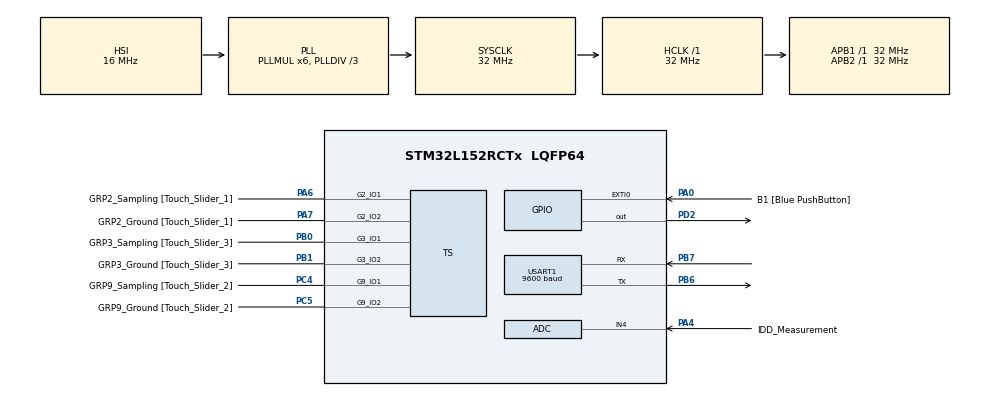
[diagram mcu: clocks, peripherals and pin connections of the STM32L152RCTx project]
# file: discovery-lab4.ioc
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ADC.Channel=ADC_CHANNEL_4
ADC.Channel-0\#ChannelRegularConversion=ADC_CHANNEL_4
ADC.Channel-IN4=ADC_CHANNEL_4
ADC.ExternalTrigConv=ADC_EXTERNALTRIGCONV_T2_CC3
ADC.ExternalTrigConv-0\#ChannelRegularConversion=ADC_SOFTWARE_START
ADC.ExternalTrigConvEdge=ADC_EXTERNALTRIGCONVEDGE_RISING
ADC.Rank-0\#ChannelRegularConversion=1
ADC.SamplingTime-0\#ChannelRegularConversion=ADC_SAMPLETIME_4CYCLES
Mcu.Family=STM32L1
Mcu.Name=STM32L152RCTx
Mcu.Package=LQFP64
NVIC.PriorityGroup=NVIC_PRIORITYGROUP_0
NVIC.USART1_IRQn=true\:0\:0\:false\:false\:true\:true\:true\:true
PA0-WKUP1.GPIO_Label=B1 [Blue PushButton]
PA0-WKUP1.GPIO_ModeDefaultEXTI=GPIO_MODE_EVT_RISING
PA0-WKUP1.GPIO_PuPd=GPIO_NOPULL
PA0-WKUP1.Signal=GPXTI0
PA1.GPIO_Label=SEG0 [GH08172T_SEG0]
PA1.GPIO_Mode=GPIO_MODE_AF_PP
PA1.GPIO_PuPd=GPIO_NOPULL
PA1.GPIO_Speed=GPIO_SPEED_FREQ_LOW
PA1.Signal=LCD_SEG0
PA10.GPIO_Label=COM2 [GH08172T_COM2]
PA10.GPIO_Mode=GPIO_MODE_AF_PP
PA10.GPIO_PuPd=GPIO_NOPULL
PA10.GPIO_Speed=GPIO_SPEED_FREQ_LOW
PA10.Signal=LCD_COM2
PA13.GPIO_Label=SWDIO
PA13.Mode=Serial_Wire
PA13.Signal=SYS_JTMS-SWDIO
PA14.GPIO_Label=SWCLK
PA14.Mode=Serial_Wire
PA14.Signal=SYS_JTCK-SWCLK
PA15.GPIO_Label=SEG12 [GH08172T_SEG12]
PA15.GPIO_Mode=GPIO_MODE_AF_PP
PA15.GPIO_PuPd=GPIO_NOPULL
PA15.GPIO_Speed=GPIO_SPEED_FREQ_LOW
PA15.Signal=LCD_SEG17
PA2.GPIO_Label=SEG1 [GH08172T_SEG1]
PA2.GPIO_Mode=GPIO_MODE_AF_PP
PA2.GPIO_PuPd=GPIO_NOPULL
PA2.GPIO_Speed=GPIO_SPEED_FREQ_LOW
PA2.Signal=LCD_SEG1
PA3.GPIO_Label=SEG2 [GH08172T_SEG2]
PA3.GPIO_Mode=GPIO_MODE_AF_PP
PA3.GPIO_PuPd=GPIO_NOPULL
PA3.GPIO_Speed=GPIO_SPEED_FREQ_LOW
PA3.Signal=LCD_SEG2
PA4.GPIO_Label=IDD_Measurement
PA4.GPIO_Mode=GPIO_MODE_ANALOG
PA4.GPIO_PuPd=GPIO_NOPULL
PA4.Mode=IN4
PA4.Signal=ADC_IN4
PA6.GPIO_Label=GRP2_Sampling [Touch_Slider_1]
PA6.Mode=G2_IO1-Sampling
PA6.Signal=TS_G2_IO1
PA7.GPIO_Label=GRP2_Ground [Touch_Slider_1]
PA7.Mode=G2_IO2-Channel
PA7.Signal=TS_G2_IO2
PA8.GPIO_Label=COM0 [GH08172T_COM0]
PA8.GPIO_Mode=GPIO_MODE_AF_PP
PA8.GPIO_PuPd=GPIO_NOPULL
PA8.GPIO_Speed=GPIO_SPEED_FREQ_LOW
PA8.Signal=LCD_COM0
PA9.GPIO_Label=COM1 [GH08172T_COM1]
PA9.GPIO_Mode=GPIO_MODE_AF_PP
PA9.GPIO_PuPd=GPIO_NOPULL
PA9.GPIO_Speed=GPIO_SPEED_FREQ_LOW
PA9.Signal=LCD_COM1
PB0.GPIO_Label=GRP3_Sampling [Touch_Slider_3]
PB0.Mode=G3_IO1-Sampling
PB0.Signal=TS_G3_IO1
PB1.GPIO_Label=GRP3_Ground [Touch_Slider_3]
PB1.Mode=G3_IO2-Channel
PB1.Signal=TS_G3_IO2
PB10.GPIO_Label=SEG6 [GH08172T_SEG6]
PB10.GPIO_Mode=GPIO_MODE_AF_PP
PB10.GPIO_PuPd=GPIO_NOPULL
PB10.GPIO_Speed=GPIO_SPEED_FREQ_LOW
PB10.Signal=LCD_SEG10
PB11.GPIO_Label=SEG7 [GH08172T_SEG7]
PB11.GPIO_Mode=GPIO_MODE_AF_PP
PB11.GPIO_PuPd=GPIO_NOPULL
PB11.GPIO_Speed=GPIO_SPEED_FREQ_LOW
PB11.Signal=LCD_SEG11
PB12.GPIO_Label=SEG8 [GH08172T_SEG8]
PB12.GPIO_Mode=GPIO_MODE_AF_PP
PB12.GPIO_PuPd=GPIO_NOPULL
PB12.GPIO_Speed=GPIO_SPEED_FREQ_LOW
PB12.Signal=LCD_SEG12
PB13.GPIO_Label=SEG9 [GH08172T_SEG9]
PB13.GPIO_Mode=GPIO_MODE_AF_PP
PB13.GPIO_PuPd=GPIO_NOPULL
PB13.GPIO_Speed=GPIO_SPEED_FREQ_LOW
PB13.Signal=LCD_SEG13
PB14.GPIO_Label=SEG10 [GH08172T_SEG10]
PB14.GPIO_Mode=GPIO_MODE_AF_PP
PB14.GPIO_PuPd=GPIO_NOPULL
PB14.GPIO_Speed=GPIO_SPEED_FREQ_LOW
PB14.Signal=LCD_SEG14
PB15.GPIO_Label=SEG11 [GH08172T_SEG11]
PB15.GPIO_Mode=GPIO_MODE_AF_PP
PB15.GPIO_PuPd=GPIO_NOPULL
PB15.GPIO_Speed=GPIO_SPEED_FREQ_LOW
PB15.Signal=LCD_SEG15
PB3.GPIO_Label=SEG3 [GH08172T_SEG3]
PB3.GPIO_Mode=GPIO_MODE_AF_PP
PB3.GPIO_PuPd=GPIO_NOPULL
PB3.GPIO_Speed=GPIO_SPEED_FREQ_LOW
PB3.Signal=LCD_SEG7
PB4.GPIO_Label=SEG4 [GH08172T_SEG4]
PB4.GPIO_Mode=GPIO_MODE_AF_PP
PB4.GPIO_PuPd=GPIO_NOPULL
PB4.GPIO_Speed=GPIO_SPEED_FREQ_LOW
PB4.Signal=LCD_SEG8
PB5.GPIO_Label=SEG5 [GH08172T_SEG5]
PB5.GPIO_Mode=GPIO_MODE_AF_PP
PB5.GPIO_PuPd=GPIO_NOPULL
PB5.GPIO_Speed=GPIO_SPEED_FREQ_LOW
PB5.Signal=LCD_SEG9
PB6.Mode=Asynchronous
PB6.Signal=USART1_TX
PB7.Mode=Asynchronous
PB7.Signal=USART1_RX
PB8.GPIO_Label=SEG13 [GH08172T_SEG13]
PB8.GPIO_Mode=GPIO_MODE_AF_PP
PB8.GPIO_PuPd=GPIO_NOPULL
PB8.GPIO_Speed=GPIO_SPEED_FREQ_LOW
PB8.Signal=LCD_SEG16
PB9.GPIO_Label=COM3 [GH08172T_COM3]
PB9.GPIO_Mode=GPIO_MODE_AF_PP
PB9.GPIO_PuPd=GPIO_NOPULL
PB9.GPIO_Speed=GPIO_SPEED_FREQ_LOW
PB9.Signal=LCD_COM3
PC0.GPIO_Label=SEG14 [GH08172T_SEG14]
PC0.GPIO_Mode=GPIO_MODE_AF_PP
PC0.GPIO_PuPd=GPIO_NOPULL
PC0.GPIO_Speed=GPIO_SPEED_FREQ_LOW
PC0.Signal=LCD_SEG18
PC1.GPIO_Label=SEG15 [GH08172T_SEG15]
PC1.GPIO_Mode=GPIO_MODE_AF_PP
PC1.GPIO_PuPd=GPIO_NOPULL
PC1.GPIO_Speed=GPIO_SPEED_FREQ_LOW
PC1.Signal=LCD_SEG19
PC10.GPIO_Label=SEG22 [GH08172T_SEG22]
PC10.GPIO_Mode=GPIO_MODE_AF_PP
PC10.GPIO_PuPd=GPIO_NOPULL
PC10.GPIO_Speed=GPIO_SPEED_FREQ_LOW
PC10.Signal=LCD_SEG28
PC11.GPIO_Label=SEG23 [GH08172T_SEG23]
PC11.GPIO_Mode=GPIO_MODE_AF_PP
PC11.GPIO_PuPd=GPIO_NOPULL
PC11.GPIO_Speed=GPIO_SPEED_FREQ_LOW
PC11.Signal=LCD_SEG29
PC14-OSC32_IN.GPIO_Label=PC14-OSC32_IN
PC14-OSC32_IN.Mode=LSE-External-Oscillator
PC14-OSC32_IN.Signal=RCC_OSC32_IN
PC15-OSC32_OUT.GPIO_Label=PC15-OSC32_OUT
PC15-OSC32_OUT.Mode=LSE-External-Oscillator
PC15-OSC32_OUT.Signal=RCC_OSC32_OUT
PC2.GPIO_Label=SEG16 [GH08172T_SEG16]
PC2.GPIO_Mode=GPIO_MODE_AF_PP
PC2.GPIO_PuPd=GPIO_NOPULL
PC2.GPIO_Speed=GPIO_SPEED_FREQ_LOW
PC2.Signal=LCD_SEG20
PC3.GPIO_Label=SEG17 [GH08172T_SEG17]
PC3.GPIO_Mode=GPIO_MODE_AF_PP
PC3.GPIO_PuPd=GPIO_NOPULL
PC3.GPIO_Speed=GPIO_SPEED_FREQ_LOW
PC3.Signal=LCD_SEG21
PC4.GPIO_Label=GRP9_Sampling [Touch_Slider_2]
PC4.Mode=G9_IO1-Sampling
PC4.Signal=TS_G9_IO1
PC5.GPIO_Label=GRP9_Ground [Touch_Slider_2]
PC5.Mode=G9_IO2-Channel
PC5.Signal=TS_G9_IO2
PC6.GPIO_Label=SEG18 [GH08172T_SEG18]
PC6.GPIO_Mode=GPIO_MODE_AF_PP
PC6.GPIO_PuPd=GPIO_NOPULL
PC6.GPIO_Speed=GPIO_SPEED_FREQ_LOW
PC6.Signal=LCD_SEG24
PC7.GPIO_Label=SEG19 [GH08172T_SEG19]
PC7.GPIO_Mode=GPIO_MODE_AF_PP
PC7.GPIO_PuPd=GPIO_NOPULL
PC7.GPIO_Speed=GPIO_SPEED_FREQ_LOW
PC7.Signal=LCD_SEG25
PC8.GPIO_Label=SEG20 [GH08172T_SEG20]
PC8.GPIO_Mode=GPIO_MODE_AF_PP
PC8.GPIO_PuPd=GPIO_NOPULL
PC8.GPIO_Speed=GPIO_SPEED_FREQ_LOW
PC8.Signal=LCD_SEG26
PC9.GPIO_Label=SEG21 [GH08172T_SEG21]
PC9.GPIO_Mode=GPIO_MODE_AF_PP
PC9.GPIO_PuPd=GPIO_NOPULL
PC9.GPIO_Speed=GPIO_SPEED_FREQ_LOW
PC9.Signal=LCD_SEG27
PD2.Signal=GPIO_Output
ProjectManager.HeapSize=0x200
ProjectManager.StackSize=0x400
ProjectManager.TargetToolchain=STM32CubeIDE
RCC.48MHZClocksFreq_Value=48000000
RCC.AHBFreq_Value=32000000
RCC.APB1Freq_Value=32000000
RCC.APB1TimFreq_Value=32000000
RCC.APB2Freq_Value=32000000
RCC.APB2TimFreq_Value=32000000
RCC.HCLKFreq_Value=32000000
RCC.HSE_VALUE=8000000
RCC.HSI_VALUE=16000000
RCC.MSI_VALUE=2097000
RCC.PLLDIV=RCC_PLL_DIV3
RCC.PLLMUL=RCC_PLL_MUL6
RCC.RTCClockSelectionVirtual=RCC_RTCCLKSOURCE_LSE
RCC.SYSCLKFreq_VALUE=32000000
RCC.SYSCLKSource=RCC_SYSCLKSOURCE_PLLCLK
RCC.USBOutput=48000000
RCC.VCOOutputFreq_Value=96000000
TS.SamplingIOs-G2_IO1=TSC_GROUP2_IO1
TS.SamplingIOs-G3_IO1=TSC_GROUP3_IO1
TS.SamplingIOs-G9_IO1=TSC_GROUP9_IO1
USART1.BaudRate=9600
USART1.VirtualMode=VM_ASYNC
VP_TIM2_VS_ClockSourceINT.Mode=Internal
VP_TIM3_VS_ClockSourceINT.Mode=Internal
VP_TIM4_VS_ClockSourceINT.Mode=Internal
board=STM32L152C-DISCO

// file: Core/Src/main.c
/* USER CODE BEGIN Header */
/**
 ******************************************************************************
 * @file           : main.c
 * @brief          : Main program body
 ******************************************************************************
 * @attention
 *
 * Copyright (c) 2023 STMicroelectronics.
 * All rights reserved.
 *
 * This software is licensed under terms that can be found in the LICENSE file
 * in the root directory of this software component.
 * If no LICENSE file comes with this software, it is provided AS-IS.
 *
 ******************************************************************************
 */
/* USER CODE END Header */
#include "main.h"

/* USER CODE BEGIN Includes */
#include <stdio.h>

/* USER CODE END Includes */

ADC_HandleTypeDef hadc;

TIM_HandleTypeDef htim2;
TIM_HandleTypeDef htim3;
TIM_HandleTypeDef htim4;

UART_HandleTypeDef huart1;

void SystemClock_Config(void);
static void MX_GPIO_Init(void);
static void MX_ADC_Init(void);
static void MX_TS_Init(void);
static void MX_TIM3_Init(void);
static void MX_TIM2_Init(void);
static void MX_TIM4_Init(void);
static void MX_USART1_UART_Init(void);

/* USER CODE BEGIN 0 */

void TIM3_IRQHandler(void) {  // Channel 1
    // -------------  Waiting to Update Speed -----------------------
  if ((TIM3->SR & (1 << 1)) != 0) {
    if (g_robot.delay == DELAY_START) {
      g_robot.delay = DELAY_WAITING;
    } else if (g_robot.delay == DELAY_WAITING) {
      g_robot.delay = DELAY_OFF;
    }

    updateMaxSpeed();

    TIM3->SR &= ~(1 << 1);

  } else if ((TIM3->SR & (1 << 2)) != 0) { // Channel 2
    // ------------- Trigger Handling -----------------------
    if (g_robot.ultrasound->status == ULTRASOUND_STOPPED) {
      g_robot.ultrasound->status = ULTRASOUND_TRIGGER_START;
      TIM2->EGR |= (1 << 2); // UG = 1 -> Send channel 2 update event to enable trigger
    }

    TIM3->CCR2 = TIM3->CNT + TIMER_3_CH_2_CNT;
    if (TIM3->CCR2 > TIM3->ARR) {
      TIM3->CCR2 = TIM3->CCR2 - TIM3->ARR; // Handle counter overflows
    }
    TIM3->SR &= ~(1 << 2);
  } else if ((TIM3->SR & (1 << 3)) != 0) {
    // ------------- Buzzer Beeping -----------------------
    if (g_robot.buzzer->status == BUZZER_BEEPING) { // Channel 3
      toggleGPIOPin(g_robot.buzzer->gpio_pin);
    }

    TIM3->SR &= ~(1 << 3);

  }
}

void TIM2_IRQHandler(void) {
  if ((TIM2->SR & (1 << 1)) != 0) { // Channel 1
    // ------------- Echo Timer -----------------------
    if (g_robot.ultrasound->status == ULTRASOUND_TRIGGER_SENT) {
      g_robot.ultrasound->time_init = TIM2->CCR1;
      g_robot.ultrasound->status = ULTRASOUND_MEASURING;

    } else if(g_robot.ultrasound->status == ULTRASOUND_MEASURING) {
      int delay = TIM2->CCR1 - g_robot.ultrasound->time_init;
      if (delay < 0) {
        delay += 0xFFFF; // Handle counter overflows
      }
      int distance = ((delay) * SPEED_SOUND_CM_MS) / 2;
      if (g_robot.ultrasound->distance != distance) {
        g_robot.ultrasound->distance = distance;
        updateBuzzer();
        sendDistanceData();
      }

      g_robot.ultrasound->status = ULTRASOUND_STOPPED;
    }

    TIM2->SR &= ~(1 << 1);

  } else if ((TIM2->SR & (1 << 2)) != 0) { // Channel 2
    // ------------- Trigger Timer -----------------------
    if (g_robot.ultrasound->status == ULTRASOUND_TRIGGER_START) {
      updateStatusGPIOPin(g_robot.ultrasound->trigger, GPIO_PIN_UP);
      TIM2->CCR2 = TIM2->CNT + TIMER_2_CH_2_CNT;
      g_robot.ultrasound->status = ULTRASOUND_TRIGGER_ON;

    } else if (g_robot.ultrasound->status == ULTRASOUND_TRIGGER_ON) {
      updateStatusGPIOPin(g_robot.ultrasound->trigger, GPIO_PIN_DOWN);
      g_robot.ultrasound->status = ULTRASOUND_TRIGGER_SENT;
    }

    TIM2->SR = ~(1 << 2); // Clear flags
  }
}

/* USER CODE END 0 */

int main(void)
{

  /* MCU Configuration--------------------------------------------------------*/

  /* Reset of all peripherals, Initializes the Flash interface and the Systick. */
  HAL_Init();

  /* Configure the system clock */
  SystemClock_Config();

  /* Initialize all configured peripherals */
  MX_GPIO_Init();
  MX_ADC_Init();
  MX_TS_Init();
  MX_TIM3_Init();
  MX_TIM2_Init();
  MX_TIM4_Init();
  MX_USART1_UART_Init();
  /* USER CODE BEGIN 2 */

  createRobot(&huart1);

  /* USER CODE END 2 */

  /* Infinite loop */
  /* USER CODE BEGIN WHILE */
  while (1) {
    if (g_robot.status_mode == MODE_AUTOMATIC) {
      switch(g_robot.status_obstacle) {
      case OBSTACLE_NONE:
        if (g_robot.ultrasound->distance < 10) {
          g_robot.status_obstacle = OBSTACLE_IN_FRONT;
        }
        break;

      case OBSTACLE_IN_FRONT:
        g_robot.status_obstacle = OBSTACLE_RIGHT;
        break;

      case OBSTACLE_RIGHT:
        g_robot.status_obstacle = OBSTACLE_RIGHT_MEASURE;
        break;

      case OBSTACLE_RIGHT_MEASURE:
        if (g_robot.ultrasound->distance > LONG_DISTANCE) {
          g_robot.status_obstacle = OBSTACLE_NONE;
        } else {
          g_robot.status_obstacle = OBSTACLE_RIGHT_BACK;
        }
        break;

      case OBSTACLE_RIGHT_BACK:
        g_robot.status_obstacle = OBSTACLE_LEFT;
        break;

      case OBSTACLE_LEFT:
        g_robot.status_obstacle = OBSTACLE_LEFT_MEASURE;
        break;

      case OBSTACLE_LEFT_MEASURE:
        if (g_robot.ultrasound->distance > LONG_DISTANCE) {
          g_robot.status_obstacle = OBSTACLE_NONE;
        } else {
          g_robot.status_obstacle = OBSTACLE_LEFT_BACK;
        }
        break;

      case OBSTACLE_LEFT_BACK:
        g_robot.status_obstacle = OBSTACLE_FINAL;
        break;

      case OBSTACLE_FINAL:
          g_robot.status_obstacle = OBSTACLE_NONE;
          break;
      }

      updateRobot();
    }

    /* USER CODE END WHILE */

  }
}

void SystemClock_Config(void)
{
  RCC_OscInitTypeDef RCC_OscInitStruct = {0};
  RCC_ClkInitTypeDef RCC_ClkInitStruct = {0};

  /** Configure the main internal regulator output voltage
  */
  __HAL_PWR_VOLTAGESCALING_CONFIG(PWR_REGULATOR_VOLTAGE_SCALE1);

  /** Initializes the RCC Oscillators according to the specified parameters
  * in the RCC_OscInitTypeDef structure.
  */
  RCC_OscInitStruct.OscillatorType = RCC_OSCILLATORTYPE_HSI;
  RCC_OscInitStruct.HSIState = RCC_HSI_ON;
  RCC_OscInitStruct.HSICalibrationValue = RCC_HSICALIBRATION_DEFAULT;
  RCC_OscInitStruct.PLL.PLLState = RCC_PLL_ON;
  RCC_OscInitStruct.PLL.PLLSource = RCC_PLLSOURCE_HSI;
  RCC_OscInitStruct.PLL.PLLMUL = RCC_PLL_MUL6;
  RCC_OscInitStruct.PLL.PLLDIV = RCC_PLL_DIV3;
  if (HAL_RCC_OscConfig(&RCC_OscInitStruct) != HAL_OK)
  {
    Error_Handler();
  }

  /** Initializes the CPU, AHB and APB buses clocks
  */
  RCC_ClkInitStruct.ClockType = RCC_CLOCKTYPE_HCLK|RCC_CLOCKTYPE_SYSCLK
                              |RCC_CLOCKTYPE_PCLK1|RCC_CLOCKTYPE_PCLK2;
  RCC_ClkInitStruct.SYSCLKSource = RCC_SYSCLKSOURCE_PLLCLK;
  RCC_ClkInitStruct.AHBCLKDivider = RCC_SYSCLK_DIV1;
  RCC_ClkInitStruct.APB1CLKDivider = RCC_HCLK_DIV1;
  RCC_ClkInitStruct.APB2CLKDivider = RCC_HCLK_DIV1;

  if (HAL_RCC_ClockConfig(&RCC_ClkInitStruct, FLASH_LATENCY_1) != HAL_OK)
  {
    Error_Handler();
  }
}

static void MX_ADC_Init(void)
{

  ADC_ChannelConfTypeDef sConfig = {0};

  /** Configure the global features of the ADC (Clock, Resolution, Data Alignment and number of conversion)
  */
  hadc.Instance = ADC1;
  hadc.Init.ClockPrescaler = ADC_CLOCK_ASYNC_DIV1;
  hadc.Init.Resolution = ADC_RESOLUTION_12B;
  hadc.Init.DataAlign = ADC_DATAALIGN_RIGHT;
  hadc.Init.ScanConvMode = ADC_SCAN_DISABLE;
  hadc.Init.EOCSelection = ADC_EOC_SEQ_CONV;
  hadc.Init.LowPowerAutoWait = ADC_AUTOWAIT_DISABLE;
  hadc.Init.LowPowerAutoPowerOff = ADC_AUTOPOWEROFF_DISABLE;
  hadc.Init.ChannelsBank = ADC_CHANNELS_BANK_A;
  hadc.Init.ContinuousConvMode = DISABLE;
  hadc.Init.NbrOfConversion = 1;
  hadc.Init.DiscontinuousConvMode = DISABLE;
  hadc.Init.ExternalTrigConv = ADC_EXTERNALTRIGCONV_T2_CC3;
  hadc.Init.ExternalTrigConvEdge = ADC_EXTERNALTRIGCONVEDGE_RISING;
  hadc.Init.DMAContinuousRequests = DISABLE;
  if (HAL_ADC_Init(&hadc) != HAL_OK)
  {
    Error_Handler();
  }

  /** Configure for the selected ADC regular channel its corresponding rank in the sequencer and its sample time.
  */
  sConfig.Channel = ADC_CHANNEL_4;
  sConfig.Rank = ADC_REGULAR_RANK_1;
  sConfig.SamplingTime = ADC_SAMPLETIME_4CYCLES;
  if (HAL_ADC_ConfigChannel(&hadc, &sConfig) != HAL_OK)
  {
    Error_Handler();
  }

}

static void MX_TIM2_Init(void)
{

  TIM_ClockConfigTypeDef sClockSourceConfig = {0};
  TIM_MasterConfigTypeDef sMasterConfig = {0};

  htim2.Instance = TIM2;
  htim2.Init.Prescaler = 0;
  htim2.Init.CounterMode = TIM_COUNTERMODE_UP;
  htim2.Init.Period = 65535;
  htim2.Init.ClockDivision = TIM_CLOCKDIVISION_DIV1;
  htim2.Init.AutoReloadPreload = TIM_AUTORELOAD_PRELOAD_DISABLE;
  if (HAL_TIM_Base_Init(&htim2) != HAL_OK)
  {
    Error_Handler();
  }
  sClockSourceConfig.ClockSource = TIM_CLOCKSOURCE_INTERNAL;
  if (HAL_TIM_ConfigClockSource(&htim2, &sClockSourceConfig) != HAL_OK)
  {
    Error_Handler();
  }
  sMasterConfig.MasterOutputTrigger = TIM_TRGO_RESET;
  sMasterConfig.MasterSlaveMode = TIM_MASTERSLAVEMODE_DISABLE;
  if (HAL_TIMEx_MasterConfigSynchronization(&htim2, &sMasterConfig) != HAL_OK)
  {
    Error_Handler();
  }

}

static void MX_TIM3_Init(void)
{

  TIM_ClockConfigTypeDef sClockSourceConfig = {0};
  TIM_MasterConfigTypeDef sMasterConfig = {0};

  htim3.Instance = TIM3;
  htim3.Init.Prescaler = 0;
  htim3.Init.CounterMode = TIM_COUNTERMODE_UP;
  htim3.Init.Period = 65535;
  htim3.Init.ClockDivision = TIM_CLOCKDIVISION_DIV1;
  htim3.Init.AutoReloadPreload = TIM_AUTORELOAD_PRELOAD_DISABLE;
  if (HAL_TIM_Base_Init(&htim3) != HAL_OK)
  {
    Error_Handler();
  }
  sClockSourceConfig.ClockSource = TIM_CLOCKSOURCE_INTERNAL;
  if (HAL_TIM_ConfigClockSource(&htim3, &sClockSourceConfig) != HAL_OK)
  {
    Error_Handler();
  }
  sMasterConfig.MasterOutputTrigger = TIM_TRGO_RESET;
  sMasterConfig.MasterSlaveMode = TIM_MASTERSLAVEMODE_DISABLE;
  if (HAL_TIMEx_MasterConfigSynchronization(&htim3, &sMasterConfig) != HAL_OK)
  {
    Error_Handler();
  }

}

static void MX_TIM4_Init(void)
{

  TIM_ClockConfigTypeDef sClockSourceConfig = {0};
  TIM_MasterConfigTypeDef sMasterConfig = {0};

  htim4.Instance = TIM4;
  htim4.Init.Prescaler = 0;
  htim4.Init.CounterMode = TIM_COUNTERMODE_UP;
  htim4.Init.Period = 65535;
  htim4.Init.ClockDivision = TIM_CLOCKDIVISION_DIV1;
  htim4.Init.AutoReloadPreload = TIM_AUTORELOAD_PRELOAD_DISABLE;
  if (HAL_TIM_Base_Init(&htim4) != HAL_OK)
  {
    Error_Handler();
  }
  sClockSourceConfig.ClockSource = TIM_CLOCKSOURCE_INTERNAL;
  if (HAL_TIM_ConfigClockSource(&htim4, &sClockSourceConfig) != HAL_OK)
  {
    Error_Handler();
  }
  sMasterConfig.MasterOutputTrigger = TIM_TRGO_RESET;
  sMasterConfig.MasterSlaveMode = TIM_MASTERSLAVEMODE_DISABLE;
  if (HAL_TIMEx_MasterConfigSynchronization(&htim4, &sMasterConfig) != HAL_OK)
  {
    Error_Handler();
  }

}

static void MX_TS_Init(void)
{

}

static void MX_USART1_UART_Init(void)
{

  huart1.Instance = USART1;
  huart1.Init.BaudRate = 9600;
  huart1.Init.WordLength = UART_WORDLENGTH_8B;
  huart1.Init.StopBits = UART_STOPBITS_1;
  huart1.Init.Parity = UART_PARITY_NONE;
  huart1.Init.Mode = UART_MODE_TX_RX;
  huart1.Init.HwFlowCtl = UART_HWCONTROL_NONE;
  huart1.Init.OverSampling = UART_OVERSAMPLING_16;
  if (HAL_UART_Init(&huart1) != HAL_OK)
  {
    Error_Handler();
  }

}

static void MX_GPIO_Init(void)
{
  GPIO_InitTypeDef GPIO_InitStruct = {0};

  /* GPIO Ports Clock Enable */
  __HAL_RCC_GPIOC_CLK_ENABLE();
  __HAL_RCC_GPIOA_CLK_ENABLE();
  __HAL_RCC_GPIOB_CLK_ENABLE();
  __HAL_RCC_GPIOD_CLK_ENABLE();

  /*Configure GPIO pin Output Level */
  HAL_GPIO_WritePin(GPIOD, GPIO_PIN_2, GPIO_PIN_RESET);

  /*Configure GPIO pins : SEG14_Pin SEG15_Pin SEG16_Pin SEG17_Pin
                           SEG18_Pin SEG19_Pin SEG20_Pin SEG21_Pin
                           SEG22_Pin SEG23_Pin */
  GPIO_InitStruct.Pin = SEG14_Pin|SEG15_Pin|SEG16_Pin|SEG17_Pin
                          |SEG18_Pin|SEG19_Pin|SEG20_Pin|SEG21_Pin
                          |SEG22_Pin|SEG23_Pin;
  GPIO_InitStruct.Mode = GPIO_MODE_AF_PP;
  GPIO_InitStruct.Pull = GPIO_NOPULL;
  GPIO_InitStruct.Speed = GPIO_SPEED_FREQ_LOW;
  GPIO_InitStruct.Alternate = GPIO_AF11_LCD;
  HAL_GPIO_Init(GPIOC, &GPIO_InitStruct);

  /*Configure GPIO pin : B1_Pin */
  GPIO_InitStruct.Pin = B1_Pin;
  GPIO_InitStruct.Mode = GPIO_MODE_EVT_RISING;
  GPIO_InitStruct.Pull = GPIO_NOPULL;
  HAL_GPIO_Init(B1_GPIO_Port, &GPIO_InitStruct);

  /*Configure GPIO pins : SEG0_Pin SEG1_Pin SEG2_Pin COM0_Pin
                           COM1_Pin COM2_Pin SEG12_Pin */
  GPIO_InitStruct.Pin = SEG0_Pin|SEG1_Pin|SEG2_Pin|COM0_Pin
                          |COM1_Pin|COM2_Pin|SEG12_Pin;
  GPIO_InitStruct.Mode = GPIO_MODE_AF_PP;
  GPIO_InitStruct.Pull = GPIO_NOPULL;
  GPIO_InitStruct.Speed = GPIO_SPEED_FREQ_LOW;
  GPIO_InitStruct.Alternate = GPIO_AF11_LCD;
  HAL_GPIO_Init(GPIOA, &GPIO_InitStruct);

  /*Configure GPIO pins : SEG6_Pin SEG7_Pin SEG8_Pin SEG9_Pin
                           SEG10_Pin SEG11_Pin SEG3_Pin SEG4_Pin
                           SEG5_Pin SEG13_Pin COM3_Pin */
  GPIO_InitStruct.Pin = SEG6_Pin|SEG7_Pin|SEG8_Pin|SEG9_Pin
                          |SEG10_Pin|SEG11_Pin|SEG3_Pin|SEG4_Pin
                          |SEG5_Pin|SEG13_Pin|COM3_Pin;
  GPIO_InitStruct.Mode = GPIO_MODE_AF_PP;
  GPIO_InitStruct.Pull = GPIO_NOPULL;
  GPIO_InitStruct.Speed = GPIO_SPEED_FREQ_LOW;
  GPIO_InitStruct.Alternate = GPIO_AF11_LCD;
  HAL_GPIO_Init(GPIOB, &GPIO_InitStruct);

  /*Configure GPIO pin : PD2 */
  GPIO_InitStruct.Pin = GPIO_PIN_2;
  GPIO_InitStruct.Mode = GPIO_MODE_OUTPUT_PP;
  GPIO_InitStruct.Pull = GPIO_NOPULL;
  GPIO_InitStruct.Speed = GPIO_SPEED_FREQ_LOW;
  HAL_GPIO_Init(GPIOD, &GPIO_InitStruct);

}

/* USER CODE BEGIN 4 */
void HAL_UART_RxCpltCallback(UART_HandleTypeDef *huart) {
  if(huart->Instance == USART1) {
    enum StatusRobot status_robot = ROBOT_STOPPED;
    enum StatusMode status_mode = MODE_DEFAULT;

    switch(g_robot.bluetooth.data_received[0]) {
    case 'A':
      status_mode = MODE_AUTOMATIC;
      status_robot = ROBOT_DEFAULT;
      break;
    case 'S':
      status_mode = MODE_MANUAL;
      status_robot = ROBOT_STOPPED;
      break;
    case 'F':
      status_mode = MODE_MANUAL;
      status_robot = ROBOT_FORWARD;
      break;
    case 'B':
      status_mode = MODE_MANUAL;
      status_robot = ROBOT_BACKWARD;
      break;
    case 'R':
      status_mode = MODE_MANUAL;
      status_robot = ROBOT_RIGHT;
      break;
    case 'L':
      status_mode = MODE_MANUAL;
      status_robot = ROBOT_LEFT;
      break;
    case 'X':
      status_mode = MODE_MANUAL;
      status_robot = ROBOT_BACKWARD_RIGHT;
      break;
    case 'Y':
      status_mode = MODE_MANUAL;
      status_robot = ROBOT_BACKWARD_LEFT;
      break;
    }

    if (status_mode != MODE_DEFAULT) {
      updateStatusMode(status_mode);
      updateStatusRobot(status_robot);
    }

    receiveData();
  }
}

/* USER CODE END 4 */

void Error_Handler(void)
{
  __disable_irq();
  while (1) {
  }
}

#ifdef  USE_FULL_ASSERT
/**
  * @brief  Reports the name of the source file and the source line number
  *         where the assert_param error has occurred.
  * @param  file: pointer to the source file name
  * @param  line: assert_param error line source number
  * @retval None
  */
void assert_failed(uint8_t *file, uint32_t line)
{
  /* USER CODE BEGIN 6 */
  /* User can add his own implementation to report the file name and line
     number, ex: printf("Wrong parameters value: file %s on line %d\r\n", file,
     line) */
  /* USER CODE END 6 */
}
#endif /* USE_FULL_ASSERT */
